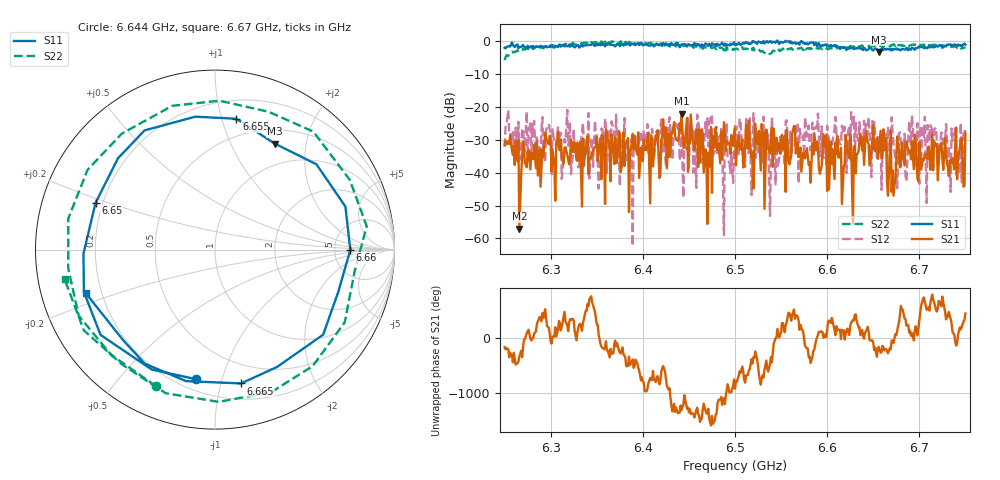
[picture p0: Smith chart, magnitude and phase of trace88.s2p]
# Hz S RI R 50
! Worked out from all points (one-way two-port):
!   401 points, 6.25 GHz to 6.75 GHz, reference 50 ohm
!   highest |S21| = -22.11 dB at 6.442 GHz (marker M1); lowest = -57.1 dB at 6.266 GHz (marker M2)
!   lowest |S11| = -3.4 dB at 6.656 GHz (marker M3), VSWR 5.21, Z = 34 + j74.4 ohm
!   |S11| at or under -10 dB: nowhere
!   |S22| runs from -5.8 to 0.1 dB; largest |S21 - S12| = 0.12
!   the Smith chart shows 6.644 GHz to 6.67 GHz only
!   S11 on the Smith chart (normalised r, x): 6.644 GHz: 0.27, -0.83; 6.65 GHz: 0.17, +0.18; 6.655 GHz: 0.35, +1.12; 6.66 GHz: 7.13, -0.06; 6.665 GHz: 0.33, -1.16; 6.67 GHz: 0.14, -0.16
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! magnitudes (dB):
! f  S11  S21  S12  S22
! 6.25 GHz  -2.1  -31.5  -32.2  -5.8
! 6.266 GHz  -1.8  -57.1  -36.2  -2.6
! 6.296 GHz  -1.9  -30.2  -26.4  -1.7
! 6.334 GHz  -1.1  -50.3  -27.4  -0.9
! 6.369 GHz  -1.4  -37.4  -28.3  -0.5
! 6.386 GHz  -1.4  -34.0  -37.8  -0.5
! 6.392 GHz  -1.3  -32.5  -28.8  -0.8
! 6.418 GHz  -1.3  -41.6  -28.0  -1.1
! 6.442 GHz  -1.1  -22.1  -26.8  -1.3
! 6.472 GHz  -0.9  -38.3  -25.1  -2.2
! 6.495 GHz  -0.8  -34.3  -40.1  -2.3
! 6.5 GHz  -1.2  -26.6  -25.0  -2.6
! 6.584 GHz  -0.5  -31.0  -24.8  -2.6
! 6.644 GHz  -2.7  -30.6  -28.4  -1.6
! 6.65 GHz  -2.9  -25.6  -29.3  -1.5
! 6.655 GHz  -2.6  -35.8  -29.1  -1.7
! 6.656 GHz  -3.4  -33.9  -30.5  -1.4
! 6.66 GHz  -2.5  -35.5  -32.7  -2.1
! 6.665 GHz  -2.4  -43.0  -39.1  -1.4
! 6.668 GHz  -2.5  -33.6  -30.4  -1.7
! 6.67 GHz  -2.4  -45.9  -23.2  -1.4
! 6.75 GHz  -1.1  -27.8  -28.3  -2.1
